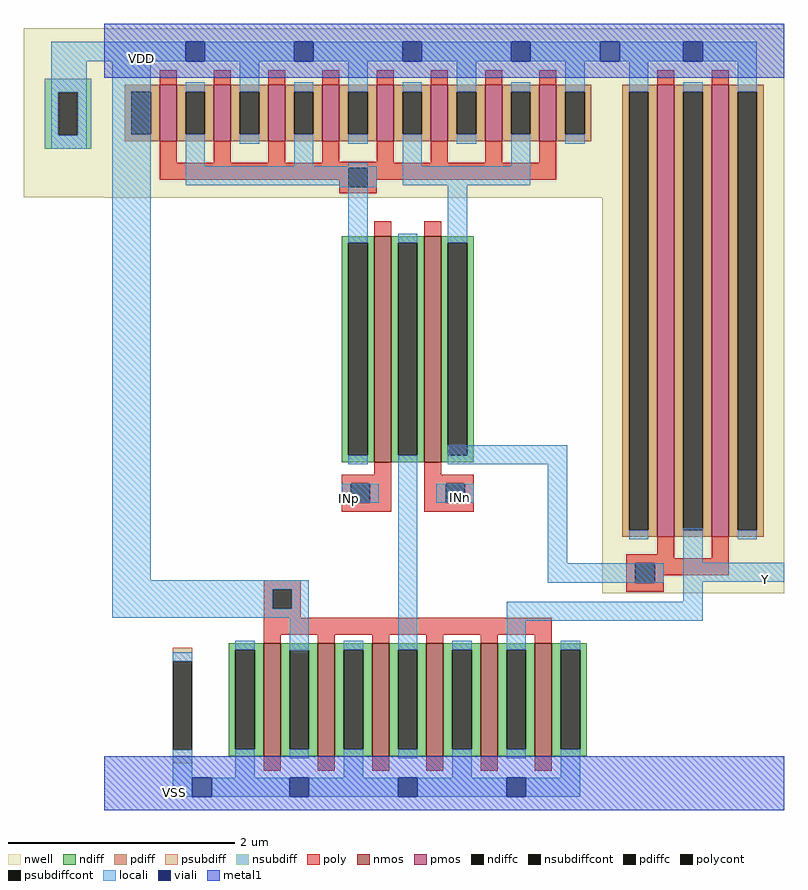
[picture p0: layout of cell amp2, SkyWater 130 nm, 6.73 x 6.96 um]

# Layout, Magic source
magic
tech sky130A
magscale 1 2
<< nwell >>
rect -142 601 58 900
<< psubdiff >>
rect 121 -220 156 -196
rect 121 -401 156 -377
<< nsubdiff >>
rect -105 787 -23 811
rect -105 711 -81 787
rect -47 711 -23 787
rect -105 687 -23 711
<< psubdiffcont >>
rect 121 -377 156 -220
<< nsubdiffcont >>
rect -81 711 -47 787
<< poly >>
rect 416 608 482 664
rect 282 -93 348 -77
rect 282 -127 298 -93
rect 332 -127 348 -93
rect 282 -143 348 -127
rect 282 -173 792 -143
<< polycont >>
rect 298 -127 332 -93
<< locali >>
rect -94 842 133 876
rect 816 842 878 876
rect 912 842 963 876
rect -94 787 -31 842
rect -94 711 -81 787
rect -47 711 -31 787
rect -94 687 -31 711
rect 14 705 81 842
rect 14 -77 82 705
rect 432 656 466 662
rect 336 622 482 656
rect 432 520 466 622
rect 608 520 642 656
rect 420 60 486 94
rect 14 -93 362 -77
rect 14 -127 298 -93
rect 332 -127 362 -93
rect 14 -143 362 -127
rect 328 -201 362 -143
rect 520 -189 554 144
rect 608 128 819 162
rect 588 60 654 94
rect 785 -47 819 128
rect 1025 -46 1059 15
rect 785 -81 975 -47
rect 1025 -80 1203 -46
rect 1025 -115 1059 -80
rect 712 -149 1059 -115
rect 712 -200 746 -149
rect 121 -220 156 -204
rect 121 -460 156 -377
rect 190 -460 266 -426
<< viali >>
rect 144 842 178 876
rect 336 842 370 876
rect 528 842 562 876
rect 720 842 754 876
rect 878 842 912 876
rect 1025 842 1059 876
rect 156 -460 190 -426
rect 328 -460 362 -426
rect 520 -460 554 -426
rect 712 -460 746 -426
<< metal1 >>
rect 0 876 1203 908
rect 0 842 144 876
rect 178 842 336 876
rect 370 842 528 876
rect 562 842 720 876
rect 754 842 878 876
rect 912 842 1025 876
rect 1059 842 1203 876
rect 0 812 1203 842
rect 0 -426 1203 -388
rect 0 -460 156 -426
rect 190 -460 328 -426
rect 362 -460 520 -426
rect 554 -460 712 -426
rect 746 -460 1203 -426
rect 0 -484 1203 -460
use sky130_fd_pr__nfet_01v8_J2SMEF  sky130_fd_pr__nfet_01v8_J2SMEF_0
transform 1 0 493 0 1 332
box -73 -288 73 226
use sky130_fd_pr__nfet_01v8_PL7QEV  sky130_fd_pr__nfet_01v8_PL7QEV_0
transform 1 0 345 0 -1 -288
box -125 -145 125 172
use sky130_fd_pr__pfet_01v8_XJKEBL  sky130_fd_pr__pfet_01v8_XJKEBL_0
transform 1 0 257 0 1 750
box -257 -150 257 150
use sky130_fd_pr__nfet_01v8_J2SMEF  XM2
transform -1 0 581 0 1 332
box -73 -288 73 226
use sky130_fd_pr__pfet_01v8_XJKEBL  XM3
transform -1 0 641 0 1 750
box -257 -150 257 150
use sky130_fd_pr__pfet_01v8_XGEZDL  XM4
transform 1 0 1042 0 1 400
box -161 -500 161 500
use sky130_fd_pr__nfet_01v8_PL7QEV  XM7
transform 1 0 729 0 -1 -288
box -125 -145 125 172
use sky130_fd_pr__nfet_01v8_PL7QEV  XM8
transform 1 0 537 0 -1 -288
box -125 -145 125 172
<< labels >>
flabel locali 1170 -76 1170 -76 1 FreeSans 320 0 0 0 Y
port 1 n
flabel metal1 124 -452 124 -452 1 FreeSans 320 0 0 0 VSS
port 2 n
flabel locali 434 68 434 68 1 FreeSans 320 0 0 0 INp
port 3 n
flabel locali 630 70 630 70 1 FreeSans 320 0 0 0 INn
port 4 n
flabel metal1 66 846 66 846 1 FreeSans 320 0 0 0 VDD
port 5 n
<< end >>

# cell sky130_fd_pr__nfet_01v8_J2SMEF: kit device sky130_fd_pr__nfet_01v8, w 2.0 l 0.15 m 1 nf 1 diffcov 100 polycov 100 guard 0 glc 1 grc 1 gtc 1 gbc 1 tbcov 100 rlcov 100 topc 1 botc 1 poverlap 0 doverlap 1 lmin 0.15 wmin 0.42 compatible {sky130_fd_pr__nfet_01v8 sky130_fd_pr__nfet_01v8_lvt sky130_fd_bs_flash__special_sonosfet_star sky130_fd_pr__nfet_g5v0d10v5 sky130_fd_pr__nfet_05v0_nvt sky130_fd_pr__nfet_03v3_nvt} full_metal 1 viasrc 100 viadrn 100 viagate 100 viagb 0 viagr 0 viagl 0 viagt 0

# cell sky130_fd_pr__nfet_01v8_PL7QEV: kit device sky130_fd_pr__nfet_01v8, w 1.0 l 0.15 m 1 nf 2 diffcov 100 polycov 100 guard 0 glc 1 grc 1 gtc 1 gbc 1 tbcov 100 rlcov 100 topc 1 botc 1 poverlap 0 doverlap 1 lmin 0.15 wmin 0.42 compatible {sky130_fd_pr__nfet_01v8 sky130_fd_pr__nfet_01v8_lvt sky130_fd_bs_flash__special_sonosfet_star sky130_fd_pr__nfet_g5v0d10v5 sky130_fd_pr__nfet_05v0_nvt sky130_fd_pr__nfet_03v3_nvt} full_metal 1 viasrc 100 viadrn 100 viagate 100 viagb 0 viagr 0 viagl 0 viagt 0

# cell sky130_fd_pr__pfet_01v8_XJKEBL: kit device sky130_fd_pr__pfet_01v8, w 0.5 l 0.15 m 1 nf 4 diffcov 100 polycov 100 guard 0 glc 1 grc 1 gtc 1 gbc 1 tbcov 100 rlcov 100 topc 1 botc 1 poverlap 0 doverlap 1 lmin 0.15 wmin 0.42 compatible {sky130_fd_pr__pfet_01v8 sky130_fd_pr__pfet_01v8_lvt sky130_fd_pr__pfet_01v8_hvt sky130_fd_pr__pfet_g5v0d10v5} full_metal 1 viasrc 100 viadrn 100 viagate 100 viagb 0 viagr 0 viagl 0 viagt 0

# cell sky130_fd_pr__pfet_01v8_XGEZDL: kit device sky130_fd_pr__pfet_01v8, w 4.0 l 0.15 m 1 nf 2 diffcov 100 polycov 100 guard 0 glc 1 grc 1 gtc 1 gbc 1 tbcov 100 rlcov 100 topc 1 botc 1 poverlap 0 doverlap 1 lmin 0.15 wmin 0.42 compatible {sky130_fd_pr__pfet_01v8 sky130_fd_pr__pfet_01v8_lvt sky130_fd_pr__pfet_01v8_hvt sky130_fd_pr__pfet_g5v0d10v5} full_metal 1 viasrc 100 viadrn 100 viagate 100 viagb 0 viagr 0 viagl 0 viagt 0
